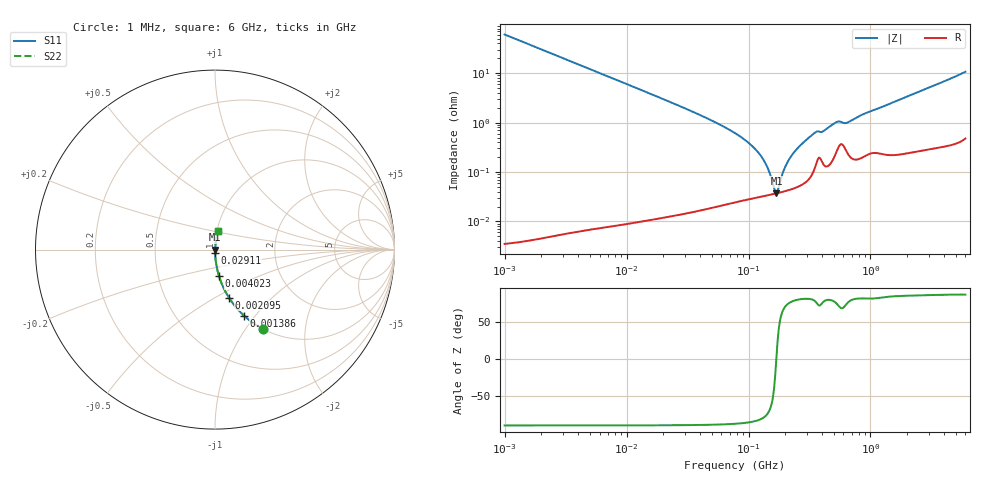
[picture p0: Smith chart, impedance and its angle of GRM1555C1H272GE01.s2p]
!Murata Part Number: GRM1555C1H272GE01
!These Parameters are Measured in Series Mode Connection
!Data Generated on Mar 30, 2021
!  o--ll--o
!Port1  Port2
!  o------o
!Operation Temp=25[degC], DC Bias Voltage=0[V]
!Freq. Start=1000[kHz] Stop=6[GHz] 401[Steps]
# Hz S RI R 50
!Freq.(Hz) S11(Real) S11(Imag) S21(Real) S21(Imag) S12(Real) S12(Imag) S22(Real) S22(Imag)
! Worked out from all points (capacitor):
!   401 points, 1 MHz to 6 GHz, reference 50 ohm
!   read as one part in series: C = 2.62 nF near 1.044 MHz
!   lowest |Z| = 37.1 mohm at 169.5 MHz (marker M1)
!   series resonance near 169 MHz, so ESL is about 340 pH
!   S11 on the Smith chart (normalised r, x): 1 MHz: 1.00, -1.22; 1.386 MHz: 1.00, -0.88; 2.095 MHz: 1.00, -0.58; 4.023 MHz: 1.00, -0.30; 29.11 MHz: 1.00, -0.04; 6 GHz: 1.01, +0.21
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1000000  0.2698 -0.4438  0.7302 0.4438  0.7302 0.4438  0.2698 -0.4438
1385737  0.1614 -0.3678  0.8386 0.3678  0.8386 0.3678  0.1614 -0.3678
2094801  0.0777 -0.2676  0.9223 0.2676  0.9223 0.2676  0.0777 -0.2676
4022575  0.0224 -0.1476  0.9776 0.1476  0.9776 0.1476  0.0224 -0.1476
4293785  0.0197 -0.1387  0.9803 0.1387  0.9803 0.1387  0.0197 -0.1387
1.843659e7  0.00117 -0.0325  0.9988 0.0325  0.9988 0.0325  0.00117 -0.0325
2.910942e7  0.000548 -0.0202  0.9995 0.0202  0.9995 0.0202  0.000548 -0.0202
7.745967e7  0.000281 -0.00613  0.9997 0.00613  0.9997 0.00613  0.000281 -0.00613
1.027698e8  0.000298 -0.00368  0.9997 0.00368  0.9997 0.00368  0.000298 -0.00368
1.249896e8  0.00032 -0.00217  0.9997 0.00217  0.9997 0.00217  0.00032 -0.00217
1.424119e8  0.000339 -0.00122  0.9997 0.00122  0.9997 0.00122  0.000339 -0.00122
1.622626e8  0.000362 -0.000289  0.9996 0.000289  0.9996 0.000289  0.000362 -0.000289
1.694764e8  0.000371 2.08e-05  0.9996 -2.08e-05  0.9996 -2.08e-05  0.000371 2.08e-05
1.770109e8  0.00038 0.000331  0.9996 -0.000331  0.9996 -0.000331  0.00038 0.000331
1.973453e8  0.000408 0.00111  0.9996 -0.00111  0.9996 -0.00111  0.000408 0.00111
2.200158e8  0.000444 0.00192  0.9996 -0.00192  0.9996 -0.00192  0.000444 0.00192
3.325952e8  0.000932 0.00557  0.9991 -0.00557  0.9991 -0.00557  0.000932 0.00557
4.133993e8  0.00144 0.00662  0.9986 -0.00662  0.9986 -0.00662  0.00144 0.00662
5.251325e8  0.00262 0.00984  0.9974 -0.00984  0.9974 -0.00984  0.00262 0.00984
6.386712e8  0.00265 0.00952  0.9974 -0.00952  0.9974 -0.00952  0.00265 0.00952
1.428092e9  0.00276 0.0237  0.9972 -0.0237  0.9972 -0.0237  0.00276 0.0237
6e9  0.0159 0.1047  0.9841 -0.1047  0.9841 -0.1047  0.0159 0.1047
